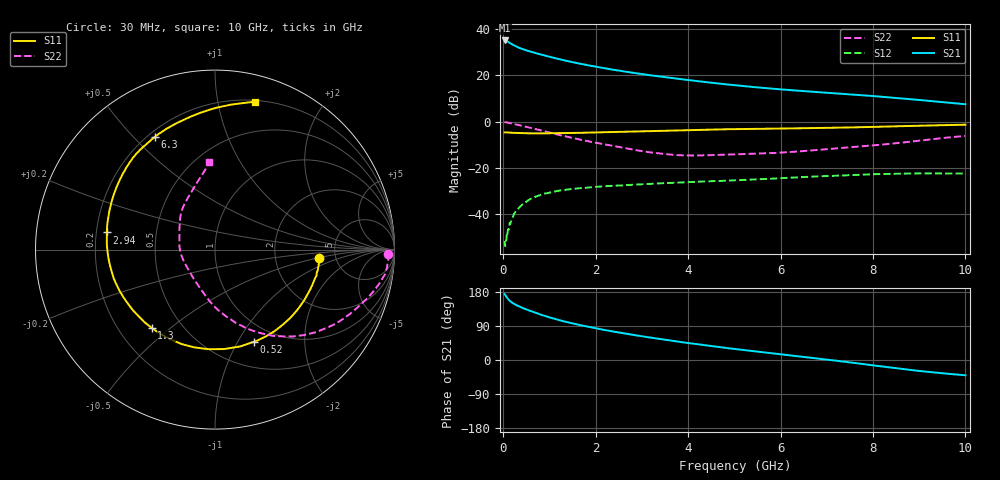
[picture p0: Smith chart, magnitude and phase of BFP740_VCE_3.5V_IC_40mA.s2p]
! Infineon Technologies  Discrete & RF Semiconductors
! BFP740
! VCE =  3.5 V,  IC =  40 mA
! Common Emitter S-Parameters:  Jan 2016
# GHz  S  MA  R  50
!  f  S11  S21  S12  S22
! GHz  MAG  ANG  MAG  ANG  MAG  ANG  MAG  ANG
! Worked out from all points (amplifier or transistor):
!   229 points, 30 MHz to 10 GHz, reference 50 ohm
!   highest |S21| = 35.1 dB at 30 MHz (marker M1)
!   |S21| within 3 dB of that: start of sweep to 323.5 MHz
!   unconditionally stable (mu >= 1): 5.691 GHz to 7.715 GHz
!   at 280 MHz: K = 0.34, MSG = 35.7 dB, |S12| = -38.9 dB
!   at 1.78 GHz: K = 0.55, MSG = 26.6 dB, |S12| = -28.7 dB
!   at 10 GHz: K = 0.98, MSG = 15.0 dB, |S12| = -22.5 dB
!   S11 on the Smith chart (normalised r, x): 30 MHz: 3.71, -0.50; 520 MHz: 0.79, -1.17; 1.3 GHz: 0.34, -0.43; 2.94 GHz: 0.24, +0.07; 6.3 GHz: 0.23, +0.58; 10 GHz: 0.21, +1.29
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0.03  0.5817 -4.4  57.03 173.8  0.0026 88.0  0.9653 -1.3
0.06  0.5834 -9.6  56.49 168.0  0.0025 70.3  0.9639 -5.2
0.09  0.5836 -14.3  54.44 163.0  0.0035 89.3  0.9575 -8.3
0.125  0.5771 -19.6  51.69 158.1  0.005 81.1  0.9364 -11.4
0.175  0.5722 -26.4  48.18 152.9  0.0071 77.4  0.9091 -15.2
0.26  0.5679 -37.3  43.26 146.2  0.0109 75.0  0.8676 -20.7
0.34  0.5637 -47.2  39.7 141.5  0.0135 71.3  0.8328 -25.5
0.52  0.5572 -67.1  34.33 132.6  0.019 62.9  0.7596 -35.1
0.7  0.5564 -85.0  30.38 124.4  0.0236 55.2  0.6888 -43.7
0.9  0.5568 -102.1  26.87 116.1  0.0275 49.2  0.6126 -52.2
1.1  0.5584 -116.6  23.88 108.8  0.0303 44.6  0.5457 -59.6
1.3  0.561 -128.9  21.36 102.3  0.0327 40.7  0.4895 -66.1
1.7  0.5716 -148.4  17.57 91.2  0.0363 35.0  0.3991 -77.1
2.24  0.5893 -168.8  13.97 78.1  0.0398 30.2  0.3135 -91.2
2.94  0.6104 171.0  10.88 63.8  0.0436 25.8  0.234 -109.8
3.4  0.6265 160.0  9.413 55.2  0.0459 23.4  0.2029 -125.3
4.3  0.6611 142.0  7.3 39.8  0.0501 19.6  0.1853 -158.8
5.1  0.688 130.5  5.993 27.7  0.0539 16.4  0.1962 178.6
6.3  0.7126 117.9  4.722 11.1  0.0614 12.1  0.222 153.3
6.8  0.7246 112.2  4.34 4.0  0.0648 9.1  0.2421 144.4
8.4  0.7838 91.2  3.309 -20.1  0.0738 -2.8  0.3312 116.2
10  0.8545 74.7  2.368 -40.3  0.075 -13.4  0.4891 93.7
